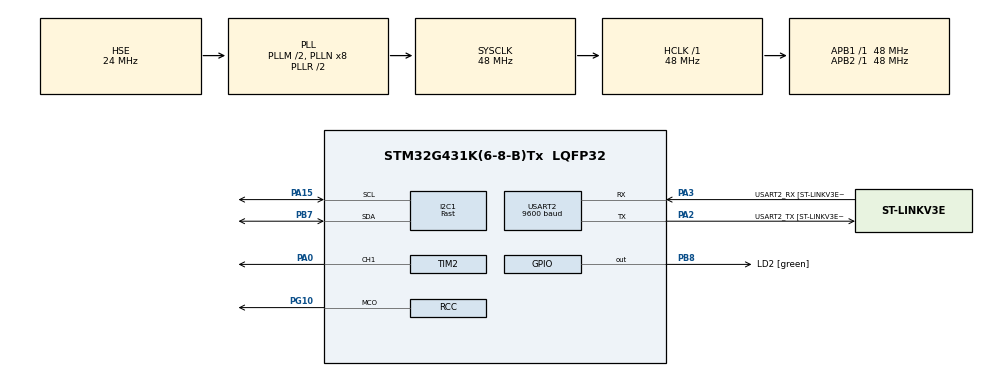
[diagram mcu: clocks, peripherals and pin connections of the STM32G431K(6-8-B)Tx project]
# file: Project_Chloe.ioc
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Dma.Request0=TIM2_CH1
Dma.TIM2_CH1.0.Direction=DMA_MEMORY_TO_PERIPH
Dma.TIM2_CH1.0.EventEnable=DISABLE
Dma.TIM2_CH1.0.Instance=DMA1_Channel1
Dma.TIM2_CH1.0.MemDataAlignment=DMA_MDATAALIGN_BYTE
Dma.TIM2_CH1.0.MemInc=DMA_MINC_ENABLE
Dma.TIM2_CH1.0.Mode=DMA_CIRCULAR
Dma.TIM2_CH1.0.PeriphDataAlignment=DMA_PDATAALIGN_WORD
Dma.TIM2_CH1.0.PeriphInc=DMA_PINC_DISABLE
Dma.TIM2_CH1.0.Polarity=HAL_DMAMUX_REQ_GEN_RISING
Dma.TIM2_CH1.0.Priority=DMA_PRIORITY_LOW
Dma.TIM2_CH1.0.RequestNumber=1
Dma.TIM2_CH1.0.SignalID=NONE
Dma.TIM2_CH1.0.SyncEnable=DISABLE
Dma.TIM2_CH1.0.SyncPolarity=HAL_DMAMUX_SYNC_NO_EVENT
Dma.TIM2_CH1.0.SyncRequestNumber=1
Dma.TIM2_CH1.0.SyncSignalID=NONE
I2C1.I2C_Speed_Mode=I2C_Fast
I2C1.Timing=0x2010091A
Mcu.Family=STM32G4
Mcu.Name=STM32G431K(6-8-B)Tx
Mcu.Package=LQFP32
NVIC.DMA1_Channel1_IRQn=true\:0\:0\:false\:false\:true\:false\:true\:true
NVIC.I2C1_ER_IRQn=true\:0\:0\:false\:false\:true\:true\:true\:true
NVIC.I2C1_EV_IRQn=true\:0\:0\:false\:false\:true\:true\:true\:true
NVIC.PriorityGroup=NVIC_PRIORITYGROUP_4
NVIC.TIM2_IRQn=true\:0\:0\:false\:false\:true\:true\:true\:true
NVIC.USART2_IRQn=true\:0\:0\:false\:false\:true\:true\:true\:true
PA0.Signal=S_TIM2_CH1
PA13.GPIO_Label=T_SWDIO
PA13.Mode=Serial_Wire
PA13.Signal=SYS_JTMS-SWDIO
PA14.GPIO_Label=T_SWCLK
PA14.Mode=Serial_Wire
PA14.Signal=SYS_JTCK-SWCLK
PA15.GPIO_Pu=GPIO_PULLUP
PA15.Mode=I2C
PA15.Signal=I2C1_SCL
PA2.GPIO_Label=USART2_TX [ST-LINKV3E_VCP_RX]
PA2.GPIO_PuPd=GPIO_PULLUP
PA2.GPIO_Speed=GPIO_SPEED_FREQ_HIGH
PA2.Mode=Asynchronous
PA2.Signal=USART2_TX
PA3.GPIO_Label=USART2_RX [ST-LINKV3E_VCP_TX]
PA3.GPIO_PuPd=GPIO_PULLUP
PA3.GPIO_Speed=GPIO_SPEED_FREQ_HIGH
PA3.Mode=Asynchronous
PA3.Signal=USART2_RX
PB3.GPIO_Label=T_SWO
PB3.Signal=SYS_JTDO-SWO
PB7.GPIO_Pu=GPIO_PULLUP
PB7.Mode=I2C
PB7.Signal=I2C1_SDA
PB8-BOOT0.GPIO_Label=LD2 [green]
PB8-BOOT0.Signal=GPIO_Output
PF0-OSC_IN.Mode=HSE-External-Oscillator
PF0-OSC_IN.Signal=RCC_OSC_IN
PF1-OSC_OUT.Mode=HSE-External-Oscillator
PF1-OSC_OUT.Signal=RCC_OSC_OUT
PG10-NRST.Mode=Clock-out
PG10-NRST.Signal=RCC_MCO
ProjectManager.HeapSize=0x200
ProjectManager.StackSize=0x400
ProjectManager.TargetToolchain=STM32CubeIDE
RCC.ADC12Freq_Value=48000000
RCC.AHBFreq_Value=48000000
RCC.APB1Freq_Value=48000000
RCC.APB1TimFreq_Value=48000000
RCC.APB2Freq_Value=48000000
RCC.APB2TimFreq_Value=48000000
RCC.CortexFreq_Value=48000000
RCC.EXTERNAL_CLOCK_VALUE=12288000
RCC.HCLKFreq_Value=48000000
RCC.HSE_VALUE=24000000
RCC.HSI48_VALUE=48000000
RCC.HSI_VALUE=16000000
RCC.I2C1CLockSelection=RCC_I2C1CLKSOURCE_SYSCLK
RCC.LSE_VALUE=32768
RCC.PLLM=RCC_PLLM_DIV2
RCC.PLLSourceVirtual=RCC_PLLSOURCE_HSE
RCC.SYSCLKFreq_VALUE=48000000
RCC.SYSCLKSource=RCC_SYSCLKSOURCE_PLLCLK
RCC.USBFreq_Value=48000000
RCC.VCOOutputFreq_Value=96000000
SH.S_TIM2_CH1.0=TIM2_CH1,PWM Generation1 CH1
TIM2.AutoReloadPreload=TIM_AUTORELOAD_PRELOAD_DISABLE
TIM2.Channel-PWM\ Generation1\ CH1=TIM_CHANNEL_1
TIM2.PeriodNoDither=60-1
TIM2.Prescaler=0
USART2.BaudRate=9600
USART2.VirtualMode-Asynchronous=VM_ASYNC
USART2.WordLength=WORDLENGTH_8B
VP_SYS_VS_DBSignals.Mode=DisableDeadBatterySignals
VP_TIM2_VS_ClockSourceINT.Mode=Internal
board=NUCLEO-G431KB

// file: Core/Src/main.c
/* USER CODE BEGIN Header */
/**
  ******************************************************************************
  * @file           : main.c
  * @brief          : Main program body
  ******************************************************************************
  * @attention
  *
  * Copyright (c) 2024 STMicroelectronics.
  * All rights reserved.
  *
  * This software is licensed under terms that can be found in the LICENSE file
  * in the root directory of this software component.
  * If no LICENSE file comes with this software, it is provided AS-IS.
  *
  ******************************************************************************
  */

/* USER CODE END Header */
#include "main.h"

/* USER CODE BEGIN Includes */
#include "I2C.h"
#include "NeoPixel.h"
#include <stdint.h>

/* USER CODE END Includes */

I2C_HandleTypeDef hi2c1;

TIM_HandleTypeDef htim2;
DMA_HandleTypeDef hdma_tim2_ch1;

UART_HandleTypeDef huart2;

void SystemClock_Config(void);
static void MX_GPIO_Init(void);
static void MX_DMA_Init(void);
static void MX_USART2_UART_Init(void);
static void MX_I2C1_Init(void);
static void MX_TIM2_Init(void);

/* USER CODE BEGIN 0 */

uint8_t receiveBuffer[SizeData]; // buffer de 64 pour 4 octect de debut, 28 pads et 2 extras pads

uint16_t Intensity_Buffer[(SizeData/2-4)]; // En supprimant les 2 extras pads

//Color Buffer
uint8_t r_buffer[24];
uint8_t g_buffer[24];
uint8_t b_buffer[24];
uint8_t w_buffer[24];

/* USER CODE END 0 */

int main(void)
{

  /* MCU Configuration--------------------------------------------------------*/

  /* Reset of all peripherals, Initializes the Flash interface and the Systick. */
  HAL_Init();

  /* Configure the system clock */
  SystemClock_Config();

  /* Initialize all configured peripherals */
  MX_GPIO_Init();
  MX_DMA_Init();
  MX_USART2_UART_Init();
  MX_I2C1_Init();
  MX_TIM2_Init();
  /* USER CODE BEGIN 2 */

  begin_init();

  //HAL_UART_Receive_IT(&huart2, rx_buffer, SizeData);

  //multicolor(50, r_buffer, g_buffer, b_buffer, w_buffer);

  /* USER CODE END 2 */

  /* Infinite loop */
  while (1)
  {

    /* USER CODE BEGIN 3 */
	  receive_data(receiveBuffer);

	  //HAL_UART_Transmit(&huart2, receiveBuffer, SizeData, 1000);
	  //HAL_Delay(100);

	 /*for (int pad = 4; pad < SizeData; pad+=4) {

	  	  Location_Buffer[pad] = (receiveBuffer[pad]<<8) | receiveBuffer[pad+1]; // Concaténation des données de localisation uniquement de deux uint8 en un uint16
	  	  Angle_Buffer[pad] = Location_Buffer[pad]*360/2047; // Récupération d'une valeur angulaire de la position de la touche (pas de 12deg)
	  	  Index_led[pad] = (int) (Angle_Buffer[pad]*1/15); // prendre la valeur entière correspondent au numéro de la led dont l'angle correspond (pas de 15deg)
	  	  led_set_RGBW(Index_led[pad], 0, 0, 200, 0); //rouge, vert, bleu, blanc

	 }//*/

  	  for (int pad = 2; pad < (SizeData/2-2); pad+=1) { // start at 2 because of Offset : from 2 to 29

  	  	  Intensity_Buffer[pad-2] = (receiveBuffer[pad*2]<<8) | receiveBuffer[pad*2+1]; // Concaténation des données de localisation uniquement de deux uint8 en un uint16
  	  	  int angle = (pad-2)*360/27;
  	  	  int led = angle*23/360;
  	  	  if (Intensity_Buffer[pad-2]>5) { //  && (pad-2)<=28 si on veux enlever les extras pads
  	  		led_set_RGBW(led, 110,20, 0, 0);
  	  	  }
  	  	  else {
  	  		led_set_RGBW(led, 0, 0, 0, 0); // led : rouge, vert, bleu, blanc
  	  	  }
  	  }//*/

  	  led_render();
  	  HAL_Delay(20);
	  /*
	  for (int i = 0; i < 80; i++){

		  multicolor(20 + 1 * i); // intensity
		  led_render();
		  HAL_Delay(100);
	  }//*/

  }
  /* USER CODE END 3 */
}

void SystemClock_Config(void)
{
  RCC_OscInitTypeDef RCC_OscInitStruct = {0};
  RCC_ClkInitTypeDef RCC_ClkInitStruct = {0};

  /** Configure the main internal regulator output voltage
  */
  HAL_PWREx_ControlVoltageScaling(PWR_REGULATOR_VOLTAGE_SCALE1);

  /** Initializes the RCC Oscillators according to the specified parameters
  * in the RCC_OscInitTypeDef structure.
  */
  RCC_OscInitStruct.OscillatorType = RCC_OSCILLATORTYPE_HSI|RCC_OSCILLATORTYPE_HSE;
  RCC_OscInitStruct.HSEState = RCC_HSE_ON;
  RCC_OscInitStruct.HSIState = RCC_HSI_ON;
  RCC_OscInitStruct.HSICalibrationValue = RCC_HSICALIBRATION_DEFAULT;
  RCC_OscInitStruct.PLL.PLLState = RCC_PLL_ON;
  RCC_OscInitStruct.PLL.PLLSource = RCC_PLLSOURCE_HSE;
  RCC_OscInitStruct.PLL.PLLM = RCC_PLLM_DIV2;
  RCC_OscInitStruct.PLL.PLLN = 8;
  RCC_OscInitStruct.PLL.PLLP = RCC_PLLP_DIV2;
  RCC_OscInitStruct.PLL.PLLQ = RCC_PLLQ_DIV2;
  RCC_OscInitStruct.PLL.PLLR = RCC_PLLR_DIV2;
  if (HAL_RCC_OscConfig(&RCC_OscInitStruct) != HAL_OK)
  {
    Error_Handler();
  }

  /** Initializes the CPU, AHB and APB buses clocks
  */
  RCC_ClkInitStruct.ClockType = RCC_CLOCKTYPE_HCLK|RCC_CLOCKTYPE_SYSCLK
                              |RCC_CLOCKTYPE_PCLK1|RCC_CLOCKTYPE_PCLK2;
  RCC_ClkInitStruct.SYSCLKSource = RCC_SYSCLKSOURCE_PLLCLK;
  RCC_ClkInitStruct.AHBCLKDivider = RCC_SYSCLK_DIV1;
  RCC_ClkInitStruct.APB1CLKDivider = RCC_HCLK_DIV1;
  RCC_ClkInitStruct.APB2CLKDivider = RCC_HCLK_DIV1;

  if (HAL_RCC_ClockConfig(&RCC_ClkInitStruct, FLASH_LATENCY_1) != HAL_OK)
  {
    Error_Handler();
  }
  HAL_RCC_MCOConfig(RCC_MCO_PG10, RCC_MCO1SOURCE_HSI, RCC_MCODIV_1);
}

static void MX_I2C1_Init(void)
{

  hi2c1.Instance = I2C1;
  hi2c1.Init.Timing = 0x2010091A;
  hi2c1.Init.OwnAddress1 = 0;
  hi2c1.Init.AddressingMode = I2C_ADDRESSINGMODE_7BIT;
  hi2c1.Init.DualAddressMode = I2C_DUALADDRESS_DISABLE;
  hi2c1.Init.OwnAddress2 = 0;
  hi2c1.Init.OwnAddress2Masks = I2C_OA2_NOMASK;
  hi2c1.Init.GeneralCallMode = I2C_GENERALCALL_DISABLE;
  hi2c1.Init.NoStretchMode = I2C_NOSTRETCH_DISABLE;
  if (HAL_I2C_Init(&hi2c1) != HAL_OK)
  {
    Error_Handler();
  }

  /** Configure Analogue filter
  */
  if (HAL_I2CEx_ConfigAnalogFilter(&hi2c1, I2C_ANALOGFILTER_ENABLE) != HAL_OK)
  {
    Error_Handler();
  }

  /** Configure Digital filter
  */
  if (HAL_I2CEx_ConfigDigitalFilter(&hi2c1, 0) != HAL_OK)
  {
    Error_Handler();
  }

}

static void MX_TIM2_Init(void)
{

  TIM_ClockConfigTypeDef sClockSourceConfig = {0};
  TIM_MasterConfigTypeDef sMasterConfig = {0};
  TIM_OC_InitTypeDef sConfigOC = {0};

  htim2.Instance = TIM2;
  htim2.Init.Prescaler = 0;
  htim2.Init.CounterMode = TIM_COUNTERMODE_UP;
  htim2.Init.Period = 59;
  htim2.Init.ClockDivision = TIM_CLOCKDIVISION_DIV1;
  htim2.Init.AutoReloadPreload = TIM_AUTORELOAD_PRELOAD_DISABLE;
  if (HAL_TIM_Base_Init(&htim2) != HAL_OK)
  {
    Error_Handler();
  }
  sClockSourceConfig.ClockSource = TIM_CLOCKSOURCE_INTERNAL;
  if (HAL_TIM_ConfigClockSource(&htim2, &sClockSourceConfig) != HAL_OK)
  {
    Error_Handler();
  }
  if (HAL_TIM_PWM_Init(&htim2) != HAL_OK)
  {
    Error_Handler();
  }
  sMasterConfig.MasterOutputTrigger = TIM_TRGO_RESET;
  sMasterConfig.MasterSlaveMode = TIM_MASTERSLAVEMODE_DISABLE;
  if (HAL_TIMEx_MasterConfigSynchronization(&htim2, &sMasterConfig) != HAL_OK)
  {
    Error_Handler();
  }
  sConfigOC.OCMode = TIM_OCMODE_PWM1;
  sConfigOC.Pulse = 0;
  sConfigOC.OCPolarity = TIM_OCPOLARITY_HIGH;
  sConfigOC.OCFastMode = TIM_OCFAST_DISABLE;
  if (HAL_TIM_PWM_ConfigChannel(&htim2, &sConfigOC, TIM_CHANNEL_1) != HAL_OK)
  {
    Error_Handler();
  }
  HAL_TIM_MspPostInit(&htim2);

}

static void MX_USART2_UART_Init(void)
{

  huart2.Instance = USART2;
  huart2.Init.BaudRate = 9600;
  huart2.Init.WordLength = UART_WORDLENGTH_8B;
  huart2.Init.StopBits = UART_STOPBITS_1;
  huart2.Init.Parity = UART_PARITY_NONE;
  huart2.Init.Mode = UART_MODE_TX_RX;
  huart2.Init.HwFlowCtl = UART_HWCONTROL_NONE;
  huart2.Init.OverSampling = UART_OVERSAMPLING_16;
  huart2.Init.OneBitSampling = UART_ONE_BIT_SAMPLE_DISABLE;
  huart2.Init.ClockPrescaler = UART_PRESCALER_DIV1;
  huart2.AdvancedInit.AdvFeatureInit = UART_ADVFEATURE_NO_INIT;
  if (HAL_UART_Init(&huart2) != HAL_OK)
  {
    Error_Handler();
  }
  if (HAL_UARTEx_SetTxFifoThreshold(&huart2, UART_TXFIFO_THRESHOLD_1_8) != HAL_OK)
  {
    Error_Handler();
  }
  if (HAL_UARTEx_SetRxFifoThreshold(&huart2, UART_RXFIFO_THRESHOLD_1_8) != HAL_OK)
  {
    Error_Handler();
  }
  if (HAL_UARTEx_DisableFifoMode(&huart2) != HAL_OK)
  {
    Error_Handler();
  }

}

static void MX_DMA_Init(void)
{

  /* DMA controller clock enable */
  __HAL_RCC_DMAMUX1_CLK_ENABLE();
  __HAL_RCC_DMA1_CLK_ENABLE();

  /* DMA interrupt init */
  /* DMA1_Channel1_IRQn interrupt configuration */
  HAL_NVIC_SetPriority(DMA1_Channel1_IRQn, 0, 0);
  HAL_NVIC_EnableIRQ(DMA1_Channel1_IRQn);

}

static void MX_GPIO_Init(void)
{
  GPIO_InitTypeDef GPIO_InitStruct = {0};

  /* GPIO Ports Clock Enable */
  __HAL_RCC_GPIOF_CLK_ENABLE();
  __HAL_RCC_GPIOG_CLK_ENABLE();
  __HAL_RCC_GPIOA_CLK_ENABLE();
  __HAL_RCC_GPIOB_CLK_ENABLE();

  /*Configure GPIO pin Output Level */
  HAL_GPIO_WritePin(LD2_GPIO_Port, LD2_Pin, GPIO_PIN_RESET);

  /*Configure GPIO pin : PG10 */
  GPIO_InitStruct.Pin = GPIO_PIN_10;
  GPIO_InitStruct.Mode = GPIO_MODE_AF_PP;
  GPIO_InitStruct.Pull = GPIO_NOPULL;
  GPIO_InitStruct.Speed = GPIO_SPEED_FREQ_LOW;
  GPIO_InitStruct.Alternate = GPIO_AF0_MCO;
  HAL_GPIO_Init(GPIOG, &GPIO_InitStruct);

  /*Configure GPIO pin : LD2_Pin */
  GPIO_InitStruct.Pin = LD2_Pin;
  GPIO_InitStruct.Mode = GPIO_MODE_OUTPUT_PP;
  GPIO_InitStruct.Pull = GPIO_NOPULL;
  GPIO_InitStruct.Speed = GPIO_SPEED_FREQ_LOW;
  HAL_GPIO_Init(LD2_GPIO_Port, &GPIO_InitStruct);

}

void Error_Handler(void)
{
  __disable_irq();
  while (1)
  {
  }
}
